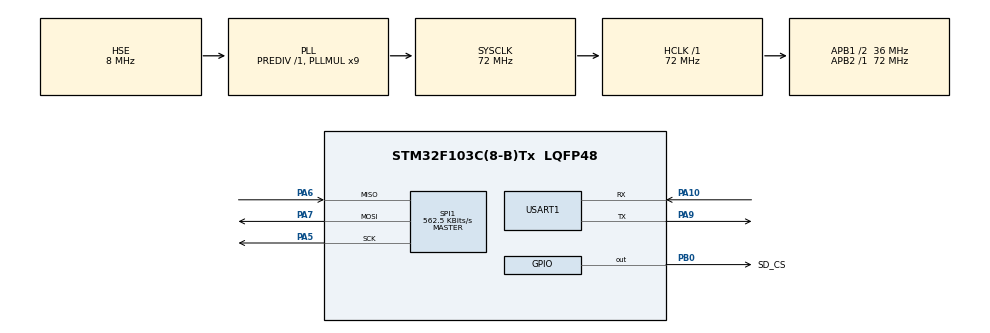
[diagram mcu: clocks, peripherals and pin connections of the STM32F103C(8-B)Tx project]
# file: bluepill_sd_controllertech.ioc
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FATFS._MAX_SS=4096
FATFS._USE_LFN=1
Mcu.Family=STM32F1
Mcu.Name=STM32F103C(8-B)Tx
Mcu.Package=LQFP48
NVIC.PriorityGroup=NVIC_PRIORITYGROUP_4
PA10.Mode=Asynchronous
PA10.Signal=USART1_RX
PA13.Mode=Serial_Wire
PA13.Signal=SYS_JTMS-SWDIO
PA14.Mode=Serial_Wire
PA14.Signal=SYS_JTCK-SWCLK
PA5.Mode=Full_Duplex_Master
PA5.Signal=SPI1_SCK
PA6.Mode=Full_Duplex_Master
PA6.Signal=SPI1_MISO
PA7.Mode=Full_Duplex_Master
PA7.Signal=SPI1_MOSI
PA9.Mode=Asynchronous
PA9.Signal=USART1_TX
PB0.GPIO_Label=SD_CS
PB0.Signal=GPIO_Output
PD0-OSC_IN.Mode=HSE-External-Oscillator
PD0-OSC_IN.Signal=RCC_OSC_IN
PD1-OSC_OUT.Mode=HSE-External-Oscillator
PD1-OSC_OUT.Signal=RCC_OSC_OUT
ProjectManager.HeapSize=0x200
ProjectManager.StackSize=0x400
ProjectManager.TargetToolchain=STM32CubeIDE
RCC.AHBFreq_Value=72000000
RCC.APB1CLKDivider=RCC_HCLK_DIV2
RCC.APB1Freq_Value=36000000
RCC.APB1TimFreq_Value=72000000
RCC.APB2Freq_Value=72000000
RCC.APB2TimFreq_Value=72000000
RCC.HCLKFreq_Value=72000000
RCC.PLLMUL=RCC_PLL_MUL9
RCC.PLLSourceVirtual=RCC_PLLSOURCE_HSE
RCC.SYSCLKFreq_VALUE=72000000
RCC.SYSCLKSource=RCC_SYSCLKSOURCE_PLLCLK
RCC.USBFreq_Value=72000000
SPI1.BaudRatePrescaler=SPI_BAUDRATEPRESCALER_128
SPI1.CalculateBaudRate=562.5 KBits/s
SPI1.Direction=SPI_DIRECTION_2LINES
SPI1.Mode=SPI_MODE_MASTER
SPI1.VirtualType=VM_MASTER
USART1.VirtualMode=VM_ASYNC
VP_FATFS_VS_Generic.Mode=User_defined
board=custom

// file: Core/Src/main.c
/* USER CODE BEGIN Header */
/**
  ******************************************************************************
  * @file           : main.c
  * @brief          : Main program body
  ******************************************************************************
  * @attention
  *
  * <h2><center>&copy; Copyright (c) 2021 STMicroelectronics.
  * All rights reserved.</center></h2>
  *
  * This software component is licensed by ST under Ultimate Liberty license
  * SLA0044, the "License"; You may not use this file except in compliance with
  * the License. You may obtain a copy of the License at:
  *                             www.st.com/SLA0044
  *
  ******************************************************************************
  */
/* USER CODE END Header */
#include "main.h"
#include "fatfs.h"

/* USER CODE BEGIN Includes */
#include "fatfs_sd.h"
#include "string.h"
/* USER CODE END Includes */

SPI_HandleTypeDef hspi1;

UART_HandleTypeDef huart1;

void SystemClock_Config(void);
static void MX_GPIO_Init(void);
static void MX_SPI1_Init(void);
static void MX_USART1_UART_Init(void);

/* USER CODE BEGIN 0 */
FATFS fs; //file system
FIL fil;	//file
FRESULT fresult;	//to store the result
char buffer[1024];	//to store data

UINT br, bw;	//file read/write count

/*capacity related variables*/
FATFS *pfs;
DWORD fre_clust;
uint32_t total, free_space;

/*to send data to the uart*/
void send_uart(char *string){
	uint8_t len=strlen(string);
	HAL_UART_Transmit(&huart1, (uint8_t *)string, len, 2000);//transmit in blocking mode
}

int bufsize (char *buf){
	int i=0;
	while(*buf++!= '\0'){
		i++;
	}
	return i;
}

void bufclear (void){
	for (int i = 0; i < 1024; i++) {
		buffer[i]='\0';
	}
}
/* USER CODE END 0 */

int main(void)
{

  /* MCU Configuration--------------------------------------------------------*/

  /* Reset of all peripherals, Initializes the Flash interface and the Systick. */
  HAL_Init();

  /* Configure the system clock */
  SystemClock_Config();

  /* Initialize all configured peripherals */
  MX_GPIO_Init();
  MX_FATFS_Init();
  MX_SPI1_Init();
  MX_USART1_UART_Init();
  /* USER CODE BEGIN 2 */

  /*mount sd card*/
//  fresult=f_mount(&fs, "", 0);
//  if(fresult != FR_OK){
//	  send_uart("error in mounting sd card ... \n\r");
//  }else{
//	  send_uart("SD card mounted successfully ...\n\r");
//  }
  fresult=f_mount(&fs, "/", 1); if(fresult == FR_OK){	 send_uart("SD card mounted successfully ...\n\r"); }
  else { send_uart("error in mounting sd card ... \n\r");}

  /*check free space*/
  f_getfree("",&fre_clust,&pfs);
  total =(uint32_t)((pfs->n_fatent-2) * (pfs->csize) * 0,5);
  sprintf(buffer,"SD card total size: \t %lu\n\r",total);
  send_uart(buffer);
  bufclear();
  free_space= (uint32_t)(fre_clust * pfs->csize*0,5);
  sprintf(buffer,"SD card free space: \t %lu\n\r",free_space);
  send_uart(buffer);
  bufclear();

  /******* The following operation is using PUTS and GETS**************/

  /*Open file to write/ create file if it doesnt exist*/
  fresult=f_open(&fil, "sorpresa.txt", FA_OPEN_ALWAYS | FA_READ | FA_WRITE);

  /*writting text*/
  fresult=f_puts("Fran perea quien lo lea \n\n",&fil);
  sprintf(buffer,"sorpesa.txt created with fresult: \t %lu\n\r",fresult);
  send_uart(buffer);
  bufclear();

  /*close file*/
  fresult= f_close(&fil);
  sprintf(buffer,"file closed with fresult: \t %lu\n\r",fresult);
  send_uart(buffer);
  bufclear();

  /*open file to read*/
  fresult= f_open(&fil,"sorpresa.txt",FA_READ);
  sprintf(buffer,"file opened with fresult: \t %lu\n\r",fresult);
  send_uart(buffer);
  bufclear();

  /*read string from file*/
  f_gets(buffer, fil.fsize, &fil);
  send_uart(buffer);
  bufclear();

  /*close file*/
  fresult= f_close(&fil);
  sprintf(buffer,"file closed again with fresult: \t %lu\n\r",fresult);
  send_uart(buffer);
  bufclear();

  /* USER CODE END 2 */

  /* Infinite loop */
  while (1)
  {

  }
}

void SystemClock_Config(void)
{
  RCC_OscInitTypeDef RCC_OscInitStruct = {0};
  RCC_ClkInitTypeDef RCC_ClkInitStruct = {0};

  /** Initializes the RCC Oscillators according to the specified parameters
  * in the RCC_OscInitTypeDef structure.
  */
  RCC_OscInitStruct.OscillatorType = RCC_OSCILLATORTYPE_HSE;
  RCC_OscInitStruct.HSEState = RCC_HSE_ON;
  RCC_OscInitStruct.HSEPredivValue = RCC_HSE_PREDIV_DIV1;
  RCC_OscInitStruct.HSIState = RCC_HSI_ON;
  RCC_OscInitStruct.PLL.PLLState = RCC_PLL_ON;
  RCC_OscInitStruct.PLL.PLLSource = RCC_PLLSOURCE_HSE;
  RCC_OscInitStruct.PLL.PLLMUL = RCC_PLL_MUL9;
  if (HAL_RCC_OscConfig(&RCC_OscInitStruct) != HAL_OK)
  {
    Error_Handler();
  }
  /** Initializes the CPU, AHB and APB buses clocks
  */
  RCC_ClkInitStruct.ClockType = RCC_CLOCKTYPE_HCLK|RCC_CLOCKTYPE_SYSCLK
                              |RCC_CLOCKTYPE_PCLK1|RCC_CLOCKTYPE_PCLK2;
  RCC_ClkInitStruct.SYSCLKSource = RCC_SYSCLKSOURCE_PLLCLK;
  RCC_ClkInitStruct.AHBCLKDivider = RCC_SYSCLK_DIV1;
  RCC_ClkInitStruct.APB1CLKDivider = RCC_HCLK_DIV2;
  RCC_ClkInitStruct.APB2CLKDivider = RCC_HCLK_DIV1;

  if (HAL_RCC_ClockConfig(&RCC_ClkInitStruct, FLASH_LATENCY_2) != HAL_OK)
  {
    Error_Handler();
  }
}

static void MX_SPI1_Init(void)
{

  /* SPI1 parameter configuration*/
  hspi1.Instance = SPI1;
  hspi1.Init.Mode = SPI_MODE_MASTER;
  hspi1.Init.Direction = SPI_DIRECTION_2LINES;
  hspi1.Init.DataSize = SPI_DATASIZE_8BIT;
  hspi1.Init.CLKPolarity = SPI_POLARITY_LOW;
  hspi1.Init.CLKPhase = SPI_PHASE_1EDGE;
  hspi1.Init.NSS = SPI_NSS_SOFT;
  hspi1.Init.BaudRatePrescaler = SPI_BAUDRATEPRESCALER_128;
  hspi1.Init.FirstBit = SPI_FIRSTBIT_MSB;
  hspi1.Init.TIMode = SPI_TIMODE_DISABLE;
  hspi1.Init.CRCCalculation = SPI_CRCCALCULATION_DISABLE;
  hspi1.Init.CRCPolynomial = 10;
  if (HAL_SPI_Init(&hspi1) != HAL_OK)
  {
    Error_Handler();
  }

}

static void MX_USART1_UART_Init(void)
{

  huart1.Instance = USART1;
  huart1.Init.BaudRate = 115200;
  huart1.Init.WordLength = UART_WORDLENGTH_8B;
  huart1.Init.StopBits = UART_STOPBITS_1;
  huart1.Init.Parity = UART_PARITY_NONE;
  huart1.Init.Mode = UART_MODE_TX_RX;
  huart1.Init.HwFlowCtl = UART_HWCONTROL_NONE;
  huart1.Init.OverSampling = UART_OVERSAMPLING_16;
  if (HAL_UART_Init(&huart1) != HAL_OK)
  {
    Error_Handler();
  }

}

static void MX_GPIO_Init(void)
{
  GPIO_InitTypeDef GPIO_InitStruct = {0};

  /* GPIO Ports Clock Enable */
  __HAL_RCC_GPIOD_CLK_ENABLE();
  __HAL_RCC_GPIOA_CLK_ENABLE();
  __HAL_RCC_GPIOB_CLK_ENABLE();

  /*Configure GPIO pin Output Level */
  HAL_GPIO_WritePin(SD_CS_GPIO_Port, SD_CS_Pin, GPIO_PIN_RESET);

  /*Configure GPIO pin : SD_CS_Pin */
  GPIO_InitStruct.Pin = SD_CS_Pin;
  GPIO_InitStruct.Mode = GPIO_MODE_OUTPUT_PP;
  GPIO_InitStruct.Pull = GPIO_NOPULL;
  GPIO_InitStruct.Speed = GPIO_SPEED_FREQ_LOW;
  HAL_GPIO_Init(SD_CS_GPIO_Port, &GPIO_InitStruct);

}

void Error_Handler(void)
{
}

/************************ (C) COPYRIGHT STMicroelectronics *****END OF FILE****/
